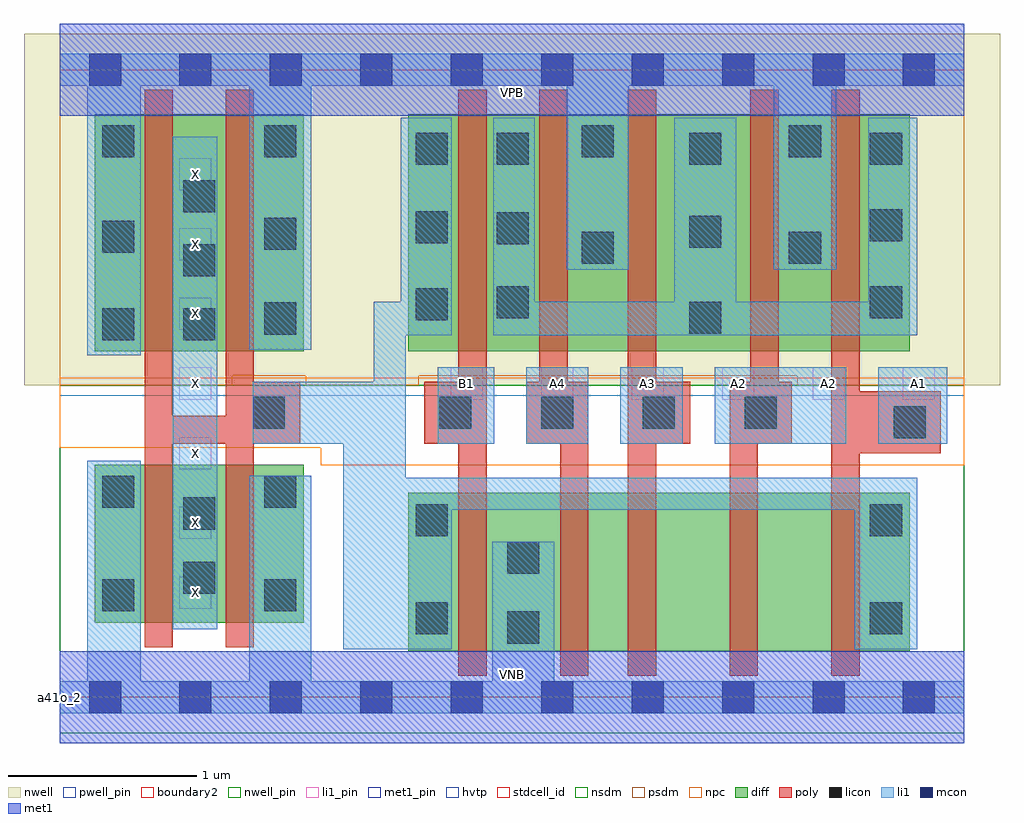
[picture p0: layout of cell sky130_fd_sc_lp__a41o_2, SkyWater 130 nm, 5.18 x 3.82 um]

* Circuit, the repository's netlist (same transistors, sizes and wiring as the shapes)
* Copyright 2020 The SkyWater PDK Authors
*
* Licensed under the Apache License, Version 2.0 (the "License");
* you may not use this file except in compliance with the License.
* You may obtain a copy of the License at
*
*     https://www.apache.org/licenses/LICENSE-2.0
*
* Unless required by applicable law or agreed to in writing, software
* distributed under the License is distributed on an "AS IS" BASIS,
* WITHOUT WARRANTIES OR CONDITIONS OF ANY KIND, either express or implied.
* See the License for the specific language governing permissions and
* limitations under the License.
*
* SPDX-License-Identifier: Apache-2.0

.SUBCKT sky130_fd_sc_lp__a41o_2 A1 A2 A3 A4 B1 VGND VNB VPB VPWR X
*.PININFO A1:I A2:I A3:I A4:I B1:I VGND:I VNB:I VPB:I VPWR:I X:O
MMPA0 pndA A1 VPWR VPB sky130_fd_pr__pfet_01v8_hvt m=1 w=1.26U l=0.15U mult=1 sa=0.265
+ sb=0.265 sd=0.28 area=0.063 perim=1.14
MMPA1 pndA A2 VPWR VPB sky130_fd_pr__pfet_01v8_hvt m=1 w=1.26U l=0.15U mult=1 sa=0.265
+ sb=0.265 sd=0.28 area=0.063 perim=1.14
MMPA2 pndA A3 VPWR VPB sky130_fd_pr__pfet_01v8_hvt m=1 w=1.26U l=0.15U mult=1 sa=0.265
+ sb=0.265 sd=0.28 area=0.063 perim=1.14
MMPA3 pndA A4 VPWR VPB sky130_fd_pr__pfet_01v8_hvt m=1 w=1.26U l=0.15U mult=1 sa=0.265
+ sb=0.265 sd=0.28 area=0.063 perim=1.14
MMPB0 y B1 pndA VPB sky130_fd_pr__pfet_01v8_hvt m=1 w=1.26U l=0.15U mult=1 sa=0.265
+ sb=0.265 sd=0.28 area=0.063 perim=1.14
MMIPX X y VPWR VPB sky130_fd_pr__pfet_01v8_hvt m=2 w=1.26U l=0.15U mult=1 sa=0.265
+ sb=0.265 sd=0.28 area=0.063 perim=1.14
MMNA0 y A1 sndA1 VNB sky130_fd_pr__nfet_01v8 m=1 w=0.84U l=0.15U mult=1 sa=0.265
+ sb=0.265 sd=0.28 area=0.063 perim=1.14
MMNA1 sndA1 A2 sndA2 VNB sky130_fd_pr__nfet_01v8 m=1 w=0.84U l=0.15U mult=1 sa=0.265
+ sb=0.265 sd=0.28 area=0.063 perim=1.14
MMNA2 sndA2 A3 sndA3 VNB sky130_fd_pr__nfet_01v8 m=1 w=0.84U l=0.15U mult=1 sa=0.265
+ sb=0.265 sd=0.28 area=0.063 perim=1.14
MMNA3 sndA3 A4 VGND VNB sky130_fd_pr__nfet_01v8 m=1 w=0.84U l=0.15U mult=1 sa=0.265
+ sb=0.265 sd=0.28 area=0.063 perim=1.14
MMNB0 y B1 VGND VNB sky130_fd_pr__nfet_01v8 m=1 w=0.84U l=0.15U mult=1 sa=0.265
+ sb=0.265 sd=0.28 area=0.063 perim=1.14
MMINX X y VGND VNB sky130_fd_pr__nfet_01v8 m=2 w=0.84U l=0.15U mult=1 sa=0.265
+ sb=0.265 sd=0.28 area=0.063 perim=1.14
.ENDS sky130_fd_sc_lp__a41o_2

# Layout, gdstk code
import gdstk
lib = gdstk.Library(unit=1e-6, precision=1e-09)
def R(c, l, rs):  # rectangles x0, y0, x1, y1
    for r in rs: c.add(gdstk.rectangle(r[:2], r[2:], *l))
def A(c, l, x, y, w, h, nx, ny, dx, dy):  # array of equal rectangles
    R(c, l, [(x+i*dx, y+j*dy, x+i*dx+w, y+j*dy+h) for i in range(nx) for j in range(ny)])
def P(c, l, *ps):  # polygons
    for p in ps: c.add(gdstk.Polygon(p, *l))
nwell_pin = (64, 16)
nwell = (64, 20)
diff = (65, 20)
poly = (66, 20)
licon = (66, 44)
li1_pin = (67, 16)
li1 = (67, 20)
mcon = (67, 44)
met1_pin = (68, 16)
met1 = (68, 20)
hvtp = (78, 44)
stdcell_id = (81, 4)
nsdm = (93, 44)
psdm = (94, 20)
npc = (95, 20)
pwell_pin = (122, 16)
boundary2 = (236, 0)

sky130_fd_sc_lp__a41o_2 = lib.new_cell('sky130_fd_sc_lp__a41o_2')
R(sky130_fd_sc_lp__a41o_2, nwell_pin, [(0,3.085,4.8,3.33)])
R(sky130_fd_sc_lp__a41o_2, nwell, [(-0.19,1.655,4.99,3.52)])
R(sky130_fd_sc_lp__a41o_2, diff, [(1.85,0.245,4.51,1.085), (0.185,0.395,1.295,1.235), (0.185,1.835,1.295,3.095), (1.85,1.835,4.51,3.095)])
P(sky130_fd_sc_lp__a41o_2, poly, [(1.275,1.675),(1.03,1.675),(1.03,3.225),(0.88,3.225),(0.88,1.495),(0.6,1.495),(0.6,3.225),(0.45,3.225),(0.45,0.265),(0.6,0.265),(0.6,1.345),(0.88,1.345),(0.88,0.265),(1.03,0.265),(1.03,1.345),(1.275,1.345)],
  [(2.265,3.225),(2.115,3.225),(2.115,1.675),(1.935,1.675),(1.935,1.345),(2.115,1.345),(2.115,0.115),(2.265,0.115)],
  [(2.805,1.675),(2.695,1.675),(2.695,3.225),(2.545,3.225),(2.545,1.675),(2.475,1.675),(2.475,1.345),(2.655,1.345),(2.655,0.115),(2.805,0.115)],
  [(3.345,1.675),(3.165,1.675),(3.165,3.225),(3.015,3.225),(3.015,0.115),(3.165,0.115),(3.165,1.345),(3.345,1.345)],
  [(3.885,1.675),(3.815,1.675),(3.815,3.225),(3.665,3.225),(3.665,1.675),(3.555,1.675),(3.555,0.115),(3.705,0.115),(3.705,1.345),(3.885,1.345)],
  [(4.675,1.625),(4.245,1.625),(4.245,3.225),(4.095,3.225),(4.095,0.115),(4.245,0.115),(4.245,1.295),(4.675,1.295)])
A(sky130_fd_sc_lp__a41o_2, licon, 2.015, 1.425, 0.17, 0.17, 4, 1, 0.54, 0)
A(sky130_fd_sc_lp__a41o_2, licon, 0.655, 1.895, 0.17, 0.17, 1, 3, 0, 0.34)
R(sky130_fd_sc_lp__a41o_2, licon, [(2.375,0.285,2.545,0.455), (1.89,0.335,2.06,0.505), (4.3,0.335,4.47,0.505), (0.225,0.455,0.395,0.625), (1.085,0.455,1.255,0.625), (0.655,0.55,0.825,0.72), (2.375,0.655,2.545,0.825), (1.89,0.855,2.06,1.025), (4.3,0.855,4.47,1.025), (0.655,0.89,0.825,1.06), (0.225,1.005,0.395,1.175), (1.085,1.005,1.255,1.175), (4.425,1.375,4.595,1.545), (1.025,1.425,1.195,1.595), (0.225,1.895,0.395,2.065), (1.085,1.925,1.255,2.095), (3.34,1.93,3.51,2.1), (1.89,2,2.06,2.17), (2.32,2.01,2.49,2.18), (4.3,2.01,4.47,2.18), (2.77,2.3,2.94,2.47), (3.87,2.3,4.04,2.47), (0.225,2.36,0.395,2.53), (1.085,2.375,1.255,2.545), (3.34,2.385,3.51,2.555), (2.32,2.405,2.49,2.575), (1.89,2.41,2.06,2.58), (4.3,2.42,4.47,2.59), (1.89,2.825,2.06,2.995), (2.32,2.825,2.49,2.995), (3.34,2.825,3.51,2.995), (4.3,2.825,4.47,2.995), (0.225,2.865,0.395,3.035), (1.085,2.865,1.255,3.035), (2.77,2.865,2.94,3.035), (3.87,2.865,4.04,3.035)])
A(sky130_fd_sc_lp__a41o_2, li1_pin, 0.635, 0.47, 0.17, 0.17, 1, 7, 0, 0.37)
A(sky130_fd_sc_lp__a41o_2, li1_pin, 2.075, 1.58, 0.17, 0.17, 6, 1, 0.48, 0)
R(sky130_fd_sc_lp__a41o_2, li1, [(0.6,0.36,0.835,2.975), (2.005,1.345,2.305,1.75), (2.475,1.345,2.805,1.75), (2.975,1.345,3.305,1.75), (3.475,1.345,4.175,1.75), (4.345,1.345,4.71,1.75)])
P(sky130_fd_sc_lp__a41o_2, li1, [(1.005,1.845),(1.005,3.245),(0.43,3.245),(0.43,1.815),(0.145,1.815),(0.145,3.245),(0,3.245),(0,3.415),(4.8,3.415),(4.8,3.245),(4.12,3.245),(4.12,2.27),(3.79,2.27),(3.79,3.245),(3.02,3.245),(3.02,2.27),(2.69,2.27),(2.69,3.245),(1.335,3.245),(1.335,1.845)],
  [(2.295,0.085),(2.295,0.825),(2.625,0.825),(2.625,0.085),(4.8,0.085),(4.8,-0.085),(0,-0.085),(0,0.085),(0.145,0.085),(0.145,1.255),(0.43,1.255),(0.43,0.085),(1.005,0.085),(1.005,1.175),(1.335,1.175),(1.335,0.085)],
  [(1.025,1.345),(1.025,1.675),(1.665,1.675),(1.665,2.1),(1.81,2.1),(1.81,3.075),(2.08,3.075),(2.08,1.92),(1.835,1.92),(1.835,1.165),(4.55,1.165),(4.55,0.255),(4.22,0.255),(4.22,0.995),(2.08,0.995),(2.08,0.255),(1.505,0.255),(1.505,1.345)],
  [(3.59,2.1),(4.29,2.1),(4.29,3.075),(4.55,3.075),(4.55,1.92),(2.3,1.92),(2.3,3.075),(2.52,3.075),(2.52,2.1),(3.26,2.1),(3.26,3.075),(3.59,3.075)])
A(sky130_fd_sc_lp__a41o_2, mcon, 0.155, -0.085, 0.17, 0.17, 10, 2, 0.48, 3.33)
R(sky130_fd_sc_lp__a41o_2, met1_pin, [(0,0,4.8,0.245), (0,3.085,4.8,3.33)])
R(sky130_fd_sc_lp__a41o_2, met1, [(0,-0.245,4.8,0.245), (0,3.085,4.8,3.575)])
R(sky130_fd_sc_lp__a41o_2, hvtp, [(0,1.6,4.8,3.33)])
R(sky130_fd_sc_lp__a41o_2, stdcell_id, [(0,0,4.8,3.33)])
R(sky130_fd_sc_lp__a41o_2, nsdm, [(0,-0.19,4.8,1.655)])
P(sky130_fd_sc_lp__a41o_2, psdm, [(4.8,3.52),(0,3.52),(0,1.655),(0.915,1.655),(0.915,1.705),(1.305,1.705),(1.305,1.655),(1.905,1.655),(1.905,1.705),(3.915,1.705),(3.915,1.655),(4.8,1.655)])
P(sky130_fd_sc_lp__a41o_2, npc, [(4.8,1.695),(0,1.695),(0,1.325),(1.385,1.325),(1.385,1.23),(4.8,1.23)])
R(sky130_fd_sc_lp__a41o_2, pwell_pin, [(0,0,4.8,0.245)])
R(sky130_fd_sc_lp__a41o_2, boundary2, [(0,0,4.8,3.33)])
sky130_fd_sc_lp__a41o_2.add(gdstk.Label('VNB', (2.4,0.123), layer=64, texttype=59))
sky130_fd_sc_lp__a41o_2.add(gdstk.Label('VPB', (2.4,3.208), layer=64, texttype=5))
sky130_fd_sc_lp__a41o_2.add(gdstk.Label('a41o_2', (0,0), layer=83, texttype=44))
sky130_fd_sc_lp__a41o_2.add(gdstk.Label('VPWR', (2.4,3.208), layer=68, texttype=5))
sky130_fd_sc_lp__a41o_2.add(gdstk.Label('VGND', (2.4,0.123), layer=68, texttype=5))
sky130_fd_sc_lp__a41o_2.add(gdstk.Label('X', (0.72,0.555), layer=67, texttype=5))
sky130_fd_sc_lp__a41o_2.add(gdstk.Label('X', (0.72,0.925), layer=67, texttype=5))
sky130_fd_sc_lp__a41o_2.add(gdstk.Label('X', (0.72,1.295), layer=67, texttype=5))
sky130_fd_sc_lp__a41o_2.add(gdstk.Label('X', (0.72,1.665), layer=67, texttype=5))
sky130_fd_sc_lp__a41o_2.add(gdstk.Label('X', (0.72,2.035), layer=67, texttype=5))
sky130_fd_sc_lp__a41o_2.add(gdstk.Label('X', (0.72,2.405), layer=67, texttype=5))
sky130_fd_sc_lp__a41o_2.add(gdstk.Label('X', (0.72,2.775), layer=67, texttype=5))
sky130_fd_sc_lp__a41o_2.add(gdstk.Label('A1', (4.56,1.665), layer=67, texttype=5))
sky130_fd_sc_lp__a41o_2.add(gdstk.Label('A2', (3.6,1.665), layer=67, texttype=5))
sky130_fd_sc_lp__a41o_2.add(gdstk.Label('A2', (4.08,1.665), layer=67, texttype=5))
sky130_fd_sc_lp__a41o_2.add(gdstk.Label('A3', (3.12,1.665), layer=67, texttype=5))
sky130_fd_sc_lp__a41o_2.add(gdstk.Label('A4', (2.64,1.665), layer=67, texttype=5))
sky130_fd_sc_lp__a41o_2.add(gdstk.Label('B1', (2.16,1.665), layer=67, texttype=5))

lib.write_gds('sky130_fd_sc_lp__a41o_2.gds')
